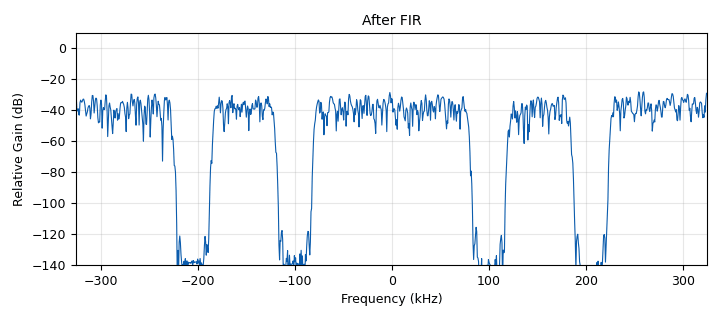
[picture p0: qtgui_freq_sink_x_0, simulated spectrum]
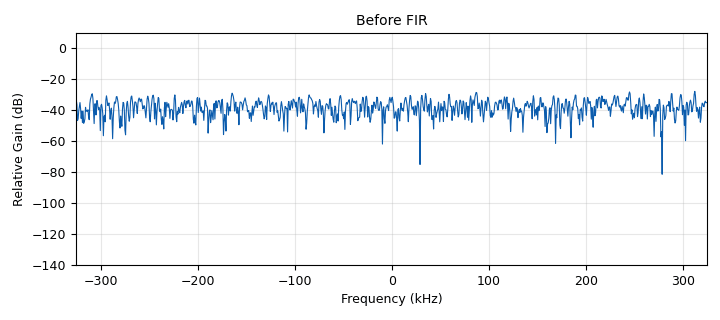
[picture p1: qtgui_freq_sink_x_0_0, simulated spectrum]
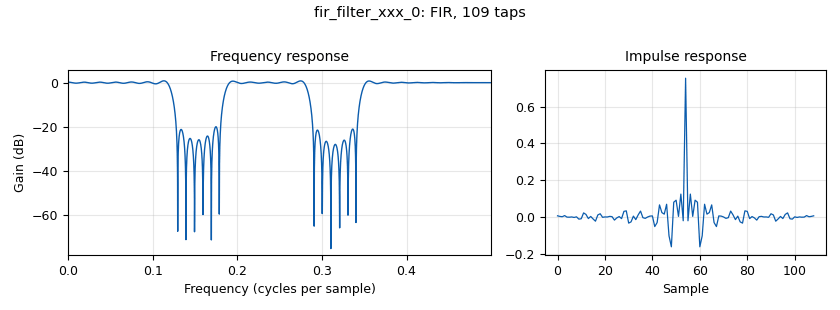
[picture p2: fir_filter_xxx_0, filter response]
options:
  parameters:
    author: delta
    generate_options: qt_gui
    id: noise
    output_language: python
    title: Not titled yet
  states: {}

blocks:
- name: samp_rate
  id: variable
  parameters:
    value: 65e4
  states: {}
- name: analog_noise_source_x_0
  id: analog_noise_source_x
  parameters:
    amp: '1'
    noise_type: analog.GR_GAUSSIAN
    seed: '0'
    type: complex
  states: {}
- name: fir_filter_xxx_0
  id: fir_filter_xxx
  parameters:
    decim: '1'
    taps: '[6.276799e-03,3.098585e-03,1.374327e-03,7.522325e-03,-7.132203e-04,-1.210949e-03,1.986647e-04,-2.534367e-03,7.954589e-04,-1.163334e-02,-9.612593e-03,2.222592e-02,1.384683e-02,-8.552734e-03,2.850948e-03,-1.072727e-02,-2.289081e-02,1.105438e-02,1.747496e-02,-1.880191e-03,2.560340e-04,-9.120678e-05,3.306242e-03,1.696446e-03,-1.695678e-02,-5.000609e-03,2.283070e-03,-8.804631e-03,3.048305e-02,3.328188e-02,-3.337388e-02,-2.657619e-02,4.608627e-03,-1.433374e-02,1.120513e-02,3.200718e-02,-3.787594e-03,-7.539235e-03,2.440586e-05,4.825952e-03,5.631896e-03,-5.207126e-02,-3.045101e-02,6.567994e-02,2.398125e-02,1.540039e-02,6.913022e-02,-1.019605e-01,-1.619750e-01,8.015250e-02,9.126578e-02,3.213145e-03,1.243087e-01,-2.063400e-02,7.538462e-01,-2.063400e-02,1.243087e-01,3.213145e-03,9.126578e-02,8.015250e-02,-1.619750e-01,-1.019605e-01,6.913022e-02,1.540039e-02,2.398125e-02,6.567994e-02,-3.045101e-02,-5.207126e-02,5.631896e-03,4.825952e-03,2.440586e-05,-7.539235e-03,-3.787594e-03,3.200718e-02,1.120513e-02,-1.433374e-02,4.608627e-03,-2.657619e-02,-3.337388e-02,3.328188e-02,3.048305e-02,-8.804631e-03,2.283070e-03,-5.000609e-03,-1.695678e-02,1.696446e-03,3.306242e-03,-9.120678e-05,2.560340e-04,-1.880191e-03,1.747496e-02,1.105438e-02,-2.289081e-02,-1.072727e-02,2.850948e-03,-8.552734e-03,1.384683e-02,2.222592e-02,-9.612593e-03,-1.163334e-02,7.954589e-04,-2.534367e-03,1.986647e-04,-1.210949e-03,-7.132203e-04,7.522325e-03,1.374327e-03,3.098585e-03,6.276799e-03]'
    type: ccf
  states: {}
- name: fir_filter_xxx_0_0
  id: fir_filter_xxx
  parameters:
    decim: '1'
    taps: '[6.276799e-03,3.098585e-03,1.374327e-03,7.522325e-03,-7.132203e-04,-1.210949e-03,1.986647e-04,-2.534367e-03,7.954589e-04,-1.163334e-02,-9.612593e-03,2.222592e-02,1.384683e-02,-8.552734e-03,2.850948e-03,-1.072727e-02,-2.289081e-02,1.105438e-02,1.747496e-02,-1.880191e-03,2.560340e-04,-9.120678e-05,3.306242e-03,1.696446e-03,-1.695678e-02,-5.000609e-03,2.283070e-03,-8.804631e-03,3.048305e-02,3.328188e-02,-3.337388e-02,-2.657619e-02,4.608627e-03,-1.433374e-02,1.120513e-02,3.200718e-02,-3.787594e-03,-7.539235e-03,2.440586e-05,4.825952e-03,5.631896e-03,-5.207126e-02,-3.045101e-02,6.567994e-02,2.398125e-02,1.540039e-02,6.913022e-02,-1.019605e-01,-1.619750e-01,8.015250e-02,9.126578e-02,3.213145e-03,1.243087e-01,-2.063400e-02,7.538462e-01,-2.063400e-02,1.243087e-01,3.213145e-03,9.126578e-02,8.015250e-02,-1.619750e-01,-1.019605e-01,6.913022e-02,1.540039e-02,2.398125e-02,6.567994e-02,-3.045101e-02,-5.207126e-02,5.631896e-03,4.825952e-03,2.440586e-05,-7.539235e-03,-3.787594e-03,3.200718e-02,1.120513e-02,-1.433374e-02,4.608627e-03,-2.657619e-02,-3.337388e-02,3.328188e-02,3.048305e-02,-8.804631e-03,2.283070e-03,-5.000609e-03,-1.695678e-02,1.696446e-03,3.306242e-03,-9.120678e-05,2.560340e-04,-1.880191e-03,1.747496e-02,1.105438e-02,-2.289081e-02,-1.072727e-02,2.850948e-03,-8.552734e-03,1.384683e-02,2.222592e-02,-9.612593e-03,-1.163334e-02,7.954589e-04,-2.534367e-03,1.986647e-04,-1.210949e-03,-7.132203e-04,7.522325e-03,1.374327e-03,3.098585e-03,6.276799e-03]'
    type: ccf
  states: {}
- name: fir_filter_xxx_0_1
  id: fir_filter_xxx
  parameters:
    decim: '1'
    taps: '[6.276799e-03,3.098585e-03,1.374327e-03,7.522325e-03,-7.132203e-04,-1.210949e-03,1.986647e-04,-2.534367e-03,7.954589e-04,-1.163334e-02,-9.612593e-03,2.222592e-02,1.384683e-02,-8.552734e-03,2.850948e-03,-1.072727e-02,-2.289081e-02,1.105438e-02,1.747496e-02,-1.880191e-03,2.560340e-04,-9.120678e-05,3.306242e-03,1.696446e-03,-1.695678e-02,-5.000609e-03,2.283070e-03,-8.804631e-03,3.048305e-02,3.328188e-02,-3.337388e-02,-2.657619e-02,4.608627e-03,-1.433374e-02,1.120513e-02,3.200718e-02,-3.787594e-03,-7.539235e-03,2.440586e-05,4.825952e-03,5.631896e-03,-5.207126e-02,-3.045101e-02,6.567994e-02,2.398125e-02,1.540039e-02,6.913022e-02,-1.019605e-01,-1.619750e-01,8.015250e-02,9.126578e-02,3.213145e-03,1.243087e-01,-2.063400e-02,7.538462e-01,-2.063400e-02,1.243087e-01,3.213145e-03,9.126578e-02,8.015250e-02,-1.619750e-01,-1.019605e-01,6.913022e-02,1.540039e-02,2.398125e-02,6.567994e-02,-3.045101e-02,-5.207126e-02,5.631896e-03,4.825952e-03,2.440586e-05,-7.539235e-03,-3.787594e-03,3.200718e-02,1.120513e-02,-1.433374e-02,4.608627e-03,-2.657619e-02,-3.337388e-02,3.328188e-02,3.048305e-02,-8.804631e-03,2.283070e-03,-5.000609e-03,-1.695678e-02,1.696446e-03,3.306242e-03,-9.120678e-05,2.560340e-04,-1.880191e-03,1.747496e-02,1.105438e-02,-2.289081e-02,-1.072727e-02,2.850948e-03,-8.552734e-03,1.384683e-02,2.222592e-02,-9.612593e-03,-1.163334e-02,7.954589e-04,-2.534367e-03,1.986647e-04,-1.210949e-03,-7.132203e-04,7.522325e-03,1.374327e-03,3.098585e-03,6.276799e-03]'
    type: ccf
  states: {}
- name: fir_filter_xxx_0_2
  id: fir_filter_xxx
  parameters:
    decim: '1'
    taps: '[6.276799e-03,3.098585e-03,1.374327e-03,7.522325e-03,-7.132203e-04,-1.210949e-03,1.986647e-04,-2.534367e-03,7.954589e-04,-1.163334e-02,-9.612593e-03,2.222592e-02,1.384683e-02,-8.552734e-03,2.850948e-03,-1.072727e-02,-2.289081e-02,1.105438e-02,1.747496e-02,-1.880191e-03,2.560340e-04,-9.120678e-05,3.306242e-03,1.696446e-03,-1.695678e-02,-5.000609e-03,2.283070e-03,-8.804631e-03,3.048305e-02,3.328188e-02,-3.337388e-02,-2.657619e-02,4.608627e-03,-1.433374e-02,1.120513e-02,3.200718e-02,-3.787594e-03,-7.539235e-03,2.440586e-05,4.825952e-03,5.631896e-03,-5.207126e-02,-3.045101e-02,6.567994e-02,2.398125e-02,1.540039e-02,6.913022e-02,-1.019605e-01,-1.619750e-01,8.015250e-02,9.126578e-02,3.213145e-03,1.243087e-01,-2.063400e-02,7.538462e-01,-2.063400e-02,1.243087e-01,3.213145e-03,9.126578e-02,8.015250e-02,-1.619750e-01,-1.019605e-01,6.913022e-02,1.540039e-02,2.398125e-02,6.567994e-02,-3.045101e-02,-5.207126e-02,5.631896e-03,4.825952e-03,2.440586e-05,-7.539235e-03,-3.787594e-03,3.200718e-02,1.120513e-02,-1.433374e-02,4.608627e-03,-2.657619e-02,-3.337388e-02,3.328188e-02,3.048305e-02,-8.804631e-03,2.283070e-03,-5.000609e-03,-1.695678e-02,1.696446e-03,3.306242e-03,-9.120678e-05,2.560340e-04,-1.880191e-03,1.747496e-02,1.105438e-02,-2.289081e-02,-1.072727e-02,2.850948e-03,-8.552734e-03,1.384683e-02,2.222592e-02,-9.612593e-03,-1.163334e-02,7.954589e-04,-2.534367e-03,1.986647e-04,-1.210949e-03,-7.132203e-04,7.522325e-03,1.374327e-03,3.098585e-03,6.276799e-03]'
    type: ccf
  states: {}
- name: qtgui_freq_sink_x_0
  id: qtgui_freq_sink_x
  parameters:
    bw: samp_rate
    fc: '0'
    fftsize: '1024'
    name: '"After FIR"'
    type: complex
  states: {}
- name: qtgui_freq_sink_x_0_0
  id: qtgui_freq_sink_x
  parameters:
    bw: samp_rate
    fc: '0'
    fftsize: '1024'
    name: '"Before FIR"'
    type: complex
  states: {}

connections:
- [analog_noise_source_x_0, '0', fir_filter_xxx_0_0, '0']
- [analog_noise_source_x_0, '0', qtgui_freq_sink_x_0_0, '0']
- [fir_filter_xxx_0, '0', fir_filter_xxx_0_2, '0']
- [fir_filter_xxx_0_0, '0', fir_filter_xxx_0, '0']
- [fir_filter_xxx_0_1, '0', qtgui_freq_sink_x_0, '0']
- [fir_filter_xxx_0_2, '0', fir_filter_xxx_0_1, '0']

metadata:
  file_format: 1
  grc_version: 3.10.12.0
